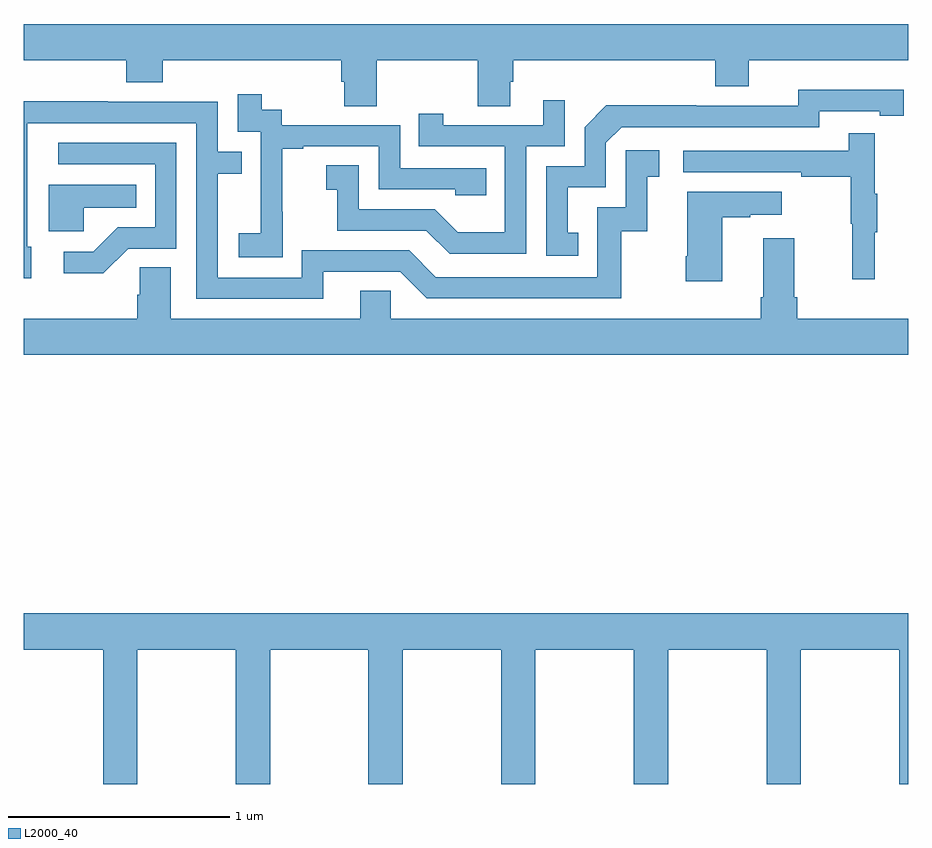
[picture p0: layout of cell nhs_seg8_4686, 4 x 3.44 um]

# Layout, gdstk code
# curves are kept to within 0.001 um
import gdstk
lib = gdstk.Library(unit=1e-6, precision=1e-09)
def P(c, l, *ps):  # polygons
    for p in ps: c.add(gdstk.Polygon(p, *l))
L2000_40 = (2000, 40)

nhs_seg8_4686 = lib.new_cell('nhs_seg8_4686')
P(nhs_seg8_4686, L2000_40, [(396.597,1111.172),(397.054,1111.172),(397.054,1110.964),(397.201,1110.964),(397.201,1111.074),(397.214,1111.074),(397.214,1111.172),(398.126,1111.172),(398.126,1111.055),(398.278,1111.055),(398.278,1111.172),(399,1111.172),(399,1111.336),(395,1111.336),(395,1111.172),(395.465,1111.172),(395.465,1111.073),(395.63,1111.073),(395.63,1111.172),(396.437,1111.172),(396.437,1111.074),(396.449,1111.074),(396.449,1110.964),(396.597,1110.964)],
  [(397.508,1110.393),(397.459,1110.393),(397.459,1110.597),(397.632,1110.597),(397.632,1110.798),(397.704,1110.87),(398.598,1110.87),(398.598,1110.942),(398.87,1110.942),(398.87,1110.922),(398.978,1110.922),(398.978,1111.038),(398.502,1111.039),(398.502,1110.966),(398.042,1110.966),(398.042,1110.968),(397.634,1110.968),(397.536,1110.87),(397.536,1110.693),(397.362,1110.693),(397.362,1110.288),(397.508,1110.288)],
  [(396.171,1110.487),(396.17,1110.487),(396.17,1110.771),(396.265,1110.771),(396.265,1110.783),(396.606,1110.783),(396.606,1110.588),(396.951,1110.588),(396.951,1110.561),(397.091,1110.561),(397.091,1110.684),(396.702,1110.684),(396.702,1110.879),(396.168,1110.879),(396.168,1110.948),(396.076,1110.948),(396.076,1111.018),(395.967,1111.018),(395.967,1110.849),(396.072,1110.849),(396.072,1110.62),(396.071,1110.62),(396.071,1110.391),(395.973,1110.391),(395.973,1110.281),(396.171,1110.281)],
  [(397.272,1110.783),(397.446,1110.783),(397.446,1110.991),(397.349,1110.991),(397.349,1110.879),(396.898,1110.879),(396.898,1110.931),(396.787,1110.931),(396.787,1110.783),(397.176,1110.783),(397.176,1110.394),(396.962,1110.394),(396.858,1110.498),(396.516,1110.498),(396.516,1110.697),(396.369,1110.697),(396.369,1110.587),(396.418,1110.587),(396.418,1110.402),(396.821,1110.402),(396.926,1110.297),(397.272,1110.297)],
  [(396.355,1110.216),(396.702,1110.216),(396.822,1110.096),(397.702,1110.096),(397.702,1110.399),(397.82,1110.399),(397.82,1110.645),(397.873,1110.645),(397.873,1110.766),(397.722,1110.766),(397.722,1110.507),(397.593,1110.507),(397.593,1110.192),(396.864,1110.192),(396.744,1110.312),(396.258,1110.312),(396.258,1110.189),(395.877,1110.189),(395.877,1110.658),(395.987,1110.658),(395.987,1110.759),(395.877,1110.759),(395.877,1110.984),(395.381,1110.984),(395.381,1110.986),(395,1110.986),(395,1110.186),(395.035,1110.186),(395.035,1110.33),(395.016,1110.33),(395.017,1110.888),(395.781,1110.888),(395.781,1110.093),(396.355,1110.093)],
  [(398.849,1110.395),(398.86,1110.395),(398.86,1110.569),(398.849,1110.569),(398.849,1110.841),(398.731,1110.841),(398.731,1110.762),(397.983,1110.762),(397.983,1110.666),(398.515,1110.666),(398.515,1110.646),(398.739,1110.646),(398.739,1110.432),(398.746,1110.432),(398.746,1110.183),(398.849,1110.183)],
  [(395.472,1110.321),(395.691,1110.321),(395.691,1110.798),(395.157,1110.798),(395.157,1110.702),(395.595,1110.702),(395.595,1110.417),(395.426,1110.417),(395.315,1110.306),(395.181,1110.306),(395.181,1110.209),(395.359,1110.209)],
  [(395.271,1110.506),(395.51,1110.506),(395.51,1110.61),(395.114,1110.61),(395.114,1110.398),(395.271,1110.398)],
  [(398.158,1110.463),(398.285,1110.463),(398.285,1110.473),(398.428,1110.473),(398.428,1110.577),(398,1110.577),(398,1110.286),(397.993,1110.286),(397.993,1110.174),(398.158,1110.174)],
  [(399,1110.004),(398.498,1110.004),(398.498,1110.1),(398.485,1110.1),(398.485,1110.367),(398.345,1110.367),(398.345,1110.1),(398.333,1110.1),(398.333,1110.004),(396.66,1110.004),(396.66,1110.131),(396.521,1110.131),(396.521,1110.004),(395.665,1110.004),(395.665,1110.236),(395.526,1110.236),(395.526,1110.113),(395.513,1110.113),(395.513,1110.004),(395,1110.004),(395,1109.84),(399,1109.84)],
  [(395.514,1108.508),(395.959,1108.508),(395.959,1107.9),(396.114,1107.9),(396.114,1108.508),(396.559,1108.508),(396.559,1107.9),(396.714,1107.9),(396.714,1108.508),(397.159,1108.508),(397.159,1107.9),(397.314,1107.9),(397.314,1108.508),(397.759,1108.508),(397.759,1107.9),(397.914,1107.9),(397.914,1108.508),(398.359,1108.508),(398.359,1107.9),(398.514,1107.9),(398.514,1108.508),(398.959,1108.508),(398.959,1107.9),(399,1107.9),(399,1108.672),(395,1108.672),(395,1108.508),(395.359,1108.508),(395.359,1107.9),(395.514,1107.9)])

lib.write_gds('nhs_seg8_4686.gds')
